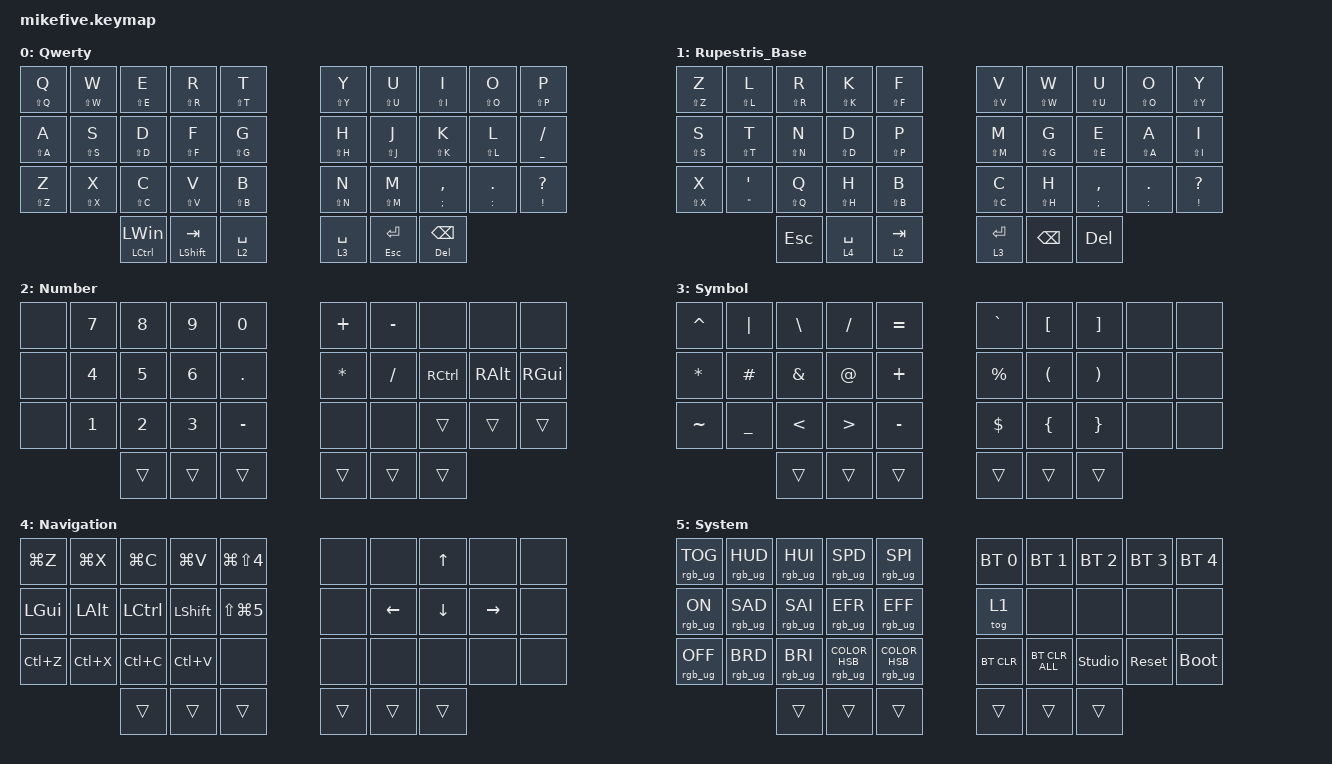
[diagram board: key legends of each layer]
#include <behaviors.dtsi>
#include <dt-bindings/zmk/bt.h>
#include <dt-bindings/zmk/keys.h>
#include <dt-bindings/zmk/rgb.h>

&led_strip { chain-length = <1>; };

/ {
    combos {
        compatible = "zmk,combos";

        capsword {
            bindings = <&caps_word>;
            key-positions = <13 16>;
            layers = <0 1>;
            timeout-ms = <50>;
        };

        System_Layer {
            bindings = <&mo 5>;
            key-positions = <32 30>;
            layers = <0 1>;
            timeout-ms = <50>;
        };
    };

    behaviors {
        as: as {
            compatible = "zmk,behavior-hold-tap";
            label = "AS";
            bindings = <&kp>, <&kp>;

            #binding-cells = <2>;
            tapping-term-ms = <200>;
            quick-tap-ms = <0>;
            flavor = "tap-preferred";
        };
    };

    keymap {
        compatible = "zmk,keymap";

        Qwerty {
            bindings = <
&as LS(Q) Q  &as LS(W) W  &as LS(E) E                &as LS(R) R         &as LS(T) T  &as LS(Y) Y  &as LS(U) U       &as LS(I) I          &as LS(O) O       &as LS(P) P
&as LS(A) A  &as LS(S) S  &as LS(D) D                &as LS(F) F         &as LS(G) G  &as LS(H) H  &as LS(J) J       &as LS(K) K          &as LS(L) L       &as UNDER SLASH
&as LS(Z) Z  &as LS(X) X  &as LS(C) C                &as LS(V) V         &as LS(B) B  &as LS(N) N  &as LS(M) M       &as SEMICOLON COMMA  &as COLON PERIOD  &as EXCLAMATION QUESTION
                          &as LEFT_CONTROL LEFT_WIN  &as LEFT_SHIFT TAB  &lt 2 SPACE  &lt 3 SPACE  &as ESCAPE ENTER  &as DEL BACKSPACE
            >;
        };

        Rupestris_Base {
            bindings = <
&as LS(Z) Z  &as LS(L) L                     &as LS(R) R  &as LS(K) K  &as LS(F) F  &as LS(V) V  &as LS(W) W    &as LS(U) U          &as LS(O) O       &as LS(Y) Y
&as LS(S) S  &as LS(T) T                     &as LS(N) N  &as LS(D) D  &as LS(P) P  &as LS(M) M  &as LS(G) G    &as LS(E) E          &as LS(A) A       &as LS(I) I
&as LS(X) X  &as DOUBLE_QUOTES SINGLE_QUOTE  &as LS(Q) Q  &as LS(H) H  &as LS(B) B  &as LS(C) C  &as LS(H) H    &as SEMICOLON COMMA  &as COLON PERIOD  &as EXCLAMATION QUESTION
                                             &kp ESCAPE   &lt 4 SPACE  &lt 2 TAB    &lt 3 ENTER  &kp BACKSPACE  &kp DEL
            >;
        };

        Number {
            bindings = <
&none  &kp NUMBER_7  &kp NUMBER_8  &kp NUMBER_9  &kp N0      &kp PLUS      &kp MINUS  &none              &none          &none
&none  &kp NUMBER_4  &kp NUMBER_5  &kp NUMBER_6  &kp PERIOD  &kp ASTERISK  &kp SLASH  &kp RIGHT_CONTROL  &kp RIGHT_ALT  &kp RIGHT_GUI
&none  &kp NUMBER_1  &kp NUMBER_2  &kp NUMBER_3  &kp MINUS   &none         &none      &trans             &trans         &trans
                     &trans        &trans        &trans      &trans        &trans     &trans
            >;
        };

        Symbol {
            bindings = <
&kp CARET     &kp PIPE   &kp BACKSLASH  &kp SLASH         &kp EQUAL  &kp GRAVE    &kp LEFT_BRACKET      &kp RIGHT_BRACKET      &none  &none
&kp ASTERISK  &kp HASH   &kp AMPERSAND  &kp AT_SIGN       &kp PLUS   &kp PERCENT  &kp LEFT_PARENTHESIS  &kp RIGHT_PARENTHESIS  &none  &none
&kp TILDE     &kp UNDER  &kp LESS_THAN  &kp GREATER_THAN  &kp MINUS  &kp DOLLAR   &kp LEFT_BRACE        &kp RIGHT_BRACE        &none  &none
                         &trans         &trans            &trans     &trans       &trans                &trans
            >;
        };

        Navigation {
            bindings = <
&kp LG(Z)     &kp LG(X)     &kp LG(C)         &kp LG(V)       &kp LG(LS(NUMBER_4))  &none   &none           &kp UP_ARROW    &none            &none
&kp LEFT_GUI  &kp LEFT_ALT  &kp LEFT_CONTROL  &kp LEFT_SHIFT  &kp LS(LG(N5))        &none   &kp LEFT_ARROW  &kp DOWN_ARROW  &kp RIGHT_ARROW  &none
&kp LC(Z)     &kp LC(X)     &kp LC(C)         &kp LC(V)       &none                 &none   &none           &none           &none            &none
                            &trans            &trans          &trans                &trans  &trans          &trans
            >;
        };

        System {
            bindings = <
&rgb_ug RGB_TOG  &rgb_ug RGB_HUD  &rgb_ug RGB_HUI  &rgb_ug RGB_SPD                  &rgb_ug RGB_SPI                    &bt BT_SEL 0  &bt BT_SEL 1    &bt BT_SEL 2    &bt BT_SEL 3  &bt BT_SEL 4
&rgb_ug RGB_ON   &rgb_ug RGB_SAD  &rgb_ug RGB_SAI  &rgb_ug RGB_EFR                  &rgb_ug RGB_EFF                    &tog 1        &none           &none           &none         &none
&rgb_ug RGB_OFF  &rgb_ug RGB_BRD  &rgb_ug RGB_BRI  &rgb_ug RGB_COLOR_HSB(0,100,50)  &rgb_ug RGB_COLOR_HSB(206,100,50)  &bt BT_CLR    &bt BT_CLR_ALL  &studio_unlock  &sys_reset    &bootloader
                                  &trans           &trans                           &trans                             &trans        &trans          &trans
            >;
        };
    };
};
